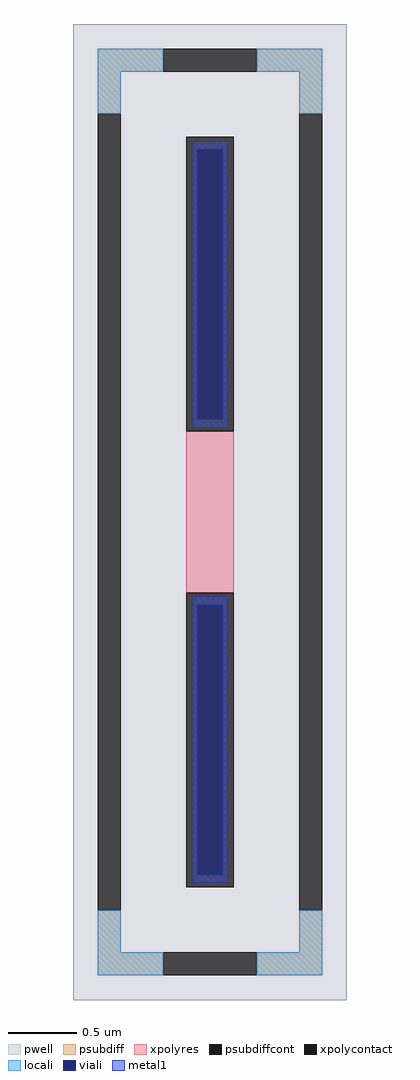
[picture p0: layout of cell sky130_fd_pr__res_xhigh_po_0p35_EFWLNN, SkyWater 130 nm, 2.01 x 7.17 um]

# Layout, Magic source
magic
tech sky130A
magscale 1 2
<< pwell >>
rect -201 -717 201 717
<< psubdiff >>
rect -165 647 -69 681
rect 69 647 165 681
rect -165 585 -131 647
rect 131 585 165 647
rect -165 -647 -131 -585
rect 131 -647 165 -585
rect -165 -681 -69 -647
rect 69 -681 165 -647
<< psubdiffcont >>
rect -69 647 69 681
rect -165 -585 -131 585
rect 131 -585 165 585
rect -69 -681 69 -647
<< xpolycontact >>
rect -35 119 35 551
rect -35 -551 35 -119
<< xpolyres >>
rect -35 -119 35 119
<< locali >>
rect -165 647 -69 681
rect 69 647 165 681
rect -165 585 -131 647
rect 131 585 165 647
rect -165 -647 -131 -585
rect 131 -647 165 -585
rect -165 -681 -69 -647
rect 69 -681 165 -647
<< viali >>
rect -19 136 19 533
rect -19 -533 19 -136
<< metal1 >>
rect -25 533 25 545
rect -25 136 -19 533
rect 19 136 25 533
rect -25 124 25 136
rect -25 -136 25 -124
rect -25 -533 -19 -136
rect 19 -533 25 -136
rect -25 -545 25 -533
<< properties >>
string FIXED_BBOX -148 -664 148 664
string gencell sky130_fd_pr__res_xhigh_po_0p35
string library sky130
string parameters w 0.350 l 1.35 m 1 nx 1 wmin 0.350 lmin 0.50 rho 2000 val 8.789k dummy 0 dw 0.0 term 188.2 sterm 0.0 caplen 0 wmax 0.350 guard 1 glc 1 grc 1 gtc 1 gbc 1 compatible {sky130_fd_pr__res_xhigh_po_0p35  sky130_fd_pr__res_xhigh_po_0p69 sky130_fd_pr__res_xhigh_po_1p41  sky130_fd_pr__res_xhigh_po_2p85 sky130_fd_pr__res_xhigh_po_5p73} snake 0 full_metal 1 n_guard 0 hv_guard 0 vias 1 viagb 0 viagt 0 viagl 0 viagr 0
<< end >>
